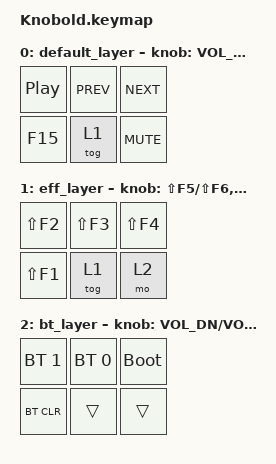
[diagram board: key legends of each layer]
#include <behaviors.dtsi>
#include <dt-bindings/zmk/keys.h>
#include <dt-bindings/zmk/bt.h>

&left_encoder { status = "okay"; };
&right_encoder { status = "okay"; };


/ {
    keymap {
        compatible = "zmk,keymap";

        default_layer {
            bindings = <
                &kp C_PP &kp C_PREV &kp C_NEXT
                &kp F15 &tog 1 &kp C_MUTE
                
                >;

            sensor-bindings = <&inc_dec_kp C_VOL_DN C_VOL_UP &inc_dec_kp PG_DN PG_UP>;
        };
        eff_layer {
            bindings = <
                &kp LS(F2) &kp LS(F3) &kp LS(F4)
                &kp LS(F1) &tog 1 &mo 2
                
                >;

            sensor-bindings = <&inc_dec_kp LS(F5) LS(F6) &inc_dec_kp LS(F7) LS(F8)>;
        };
        bt_layer {
            bindings = <
                &bt BT_SEL 1 &bt BT_SEL 0 &bootloader
                &bt BT_CLR &trans &trans
                
                >;

            sensor-bindings = <&inc_dec_kp C_VOL_DN C_VOL_UP &inc_dec_kp PG_DN PG_UP>;
        };
    };
};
